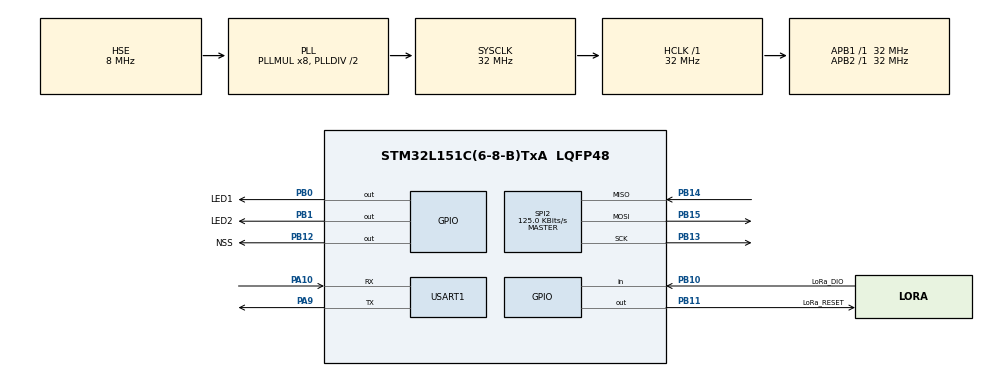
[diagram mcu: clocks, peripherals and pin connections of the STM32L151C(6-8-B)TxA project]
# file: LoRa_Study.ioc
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Mcu.Family=STM32L1
Mcu.Name=STM32L151C(6-8-B)TxA
Mcu.Package=LQFP48
NVIC.PriorityGroup=NVIC_PRIORITYGROUP_4
PA10.Mode=Asynchronous
PA10.Signal=USART1_RX
PA13.Mode=Serial_Wire
PA13.Signal=SYS_JTMS-SWDIO
PA14.Mode=Serial_Wire
PA14.Signal=SYS_JTCK-SWCLK
PA9.Mode=Asynchronous
PA9.Signal=USART1_TX
PB0.GPIO_Label=LED1
PB0.Signal=GPIO_Output
PB1.GPIO_Label=LED2
PB1.Signal=GPIO_Output
PB10.GPIO_Label=LoRa_DIO
PB10.Signal=GPIO_Input
PB11.GPIO_Label=LoRa_RESET
PB11.Signal=GPIO_Output
PB12.GPIO_Label=NSS
PB12.Signal=GPIO_Output
PB13.Mode=Full_Duplex_Master
PB13.Signal=SPI2_SCK
PB14.Mode=Full_Duplex_Master
PB14.Signal=SPI2_MISO
PB15.Mode=Full_Duplex_Master
PB15.Signal=SPI2_MOSI
PH0-OSC_IN.Mode=HSE-External-Oscillator
PH0-OSC_IN.Signal=RCC_OSC_IN
PH1-OSC_OUT.Mode=HSE-External-Oscillator
PH1-OSC_OUT.Signal=RCC_OSC_OUT
ProjectManager.HeapSize=0x200
ProjectManager.StackSize=0x400
ProjectManager.TargetToolchain=MDK-ARM V5
RCC.48MHZClocksFreq_Value=32000000
RCC.AHBFreq_Value=32000000
RCC.APB1Freq_Value=32000000
RCC.APB1TimFreq_Value=32000000
RCC.APB2Freq_Value=32000000
RCC.APB2TimFreq_Value=32000000
RCC.HCLKFreq_Value=32000000
RCC.HSE_VALUE=8000000
RCC.HSI_VALUE=16000000
RCC.LSE_VALUE=32768
RCC.MSI_VALUE=2097000
RCC.PLLMUL=RCC_PLL_MUL8
RCC.PLLSourceVirtual=RCC_PLLSOURCE_HSE
RCC.SYSCLKFreq_VALUE=32000000
RCC.SYSCLKSource=RCC_SYSCLKSOURCE_PLLCLK
RCC.VCOOutputFreq_Value=64000000
SPI2.BaudRatePrescaler=SPI_BAUDRATEPRESCALER_256
SPI2.CalculateBaudRate=125.0 KBits/s
SPI2.Direction=SPI_DIRECTION_2LINES
SPI2.Mode=SPI_MODE_MASTER
SPI2.VirtualType=VM_MASTER
USART1.VirtualMode=VM_ASYNC
board=LoRa_Study

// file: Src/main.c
/**
  ******************************************************************************
  * File Name          : main.c
  * Description        : Main program body
  ******************************************************************************
  ** This notice applies to any and all portions of this file
  * that are not between comment pairs USER CODE BEGIN and
  * USER CODE END. Other portions of this file, whether
  * inserted by the user or by software development tools
  * are owned by their respective copyright owners.
  *
  * COPYRIGHT(c) 2018 STMicroelectronics
  *
  * Redistribution and use in source and binary forms, with or without modification,
  * are permitted provided that the following conditions are met:
  *   1. Redistributions of source code must retain the above copyright notice,
  *      this list of conditions and the following disclaimer.
  *   2. Redistributions in binary form must reproduce the above copyright notice,
  *      this list of conditions and the following disclaimer in the documentation
  *      and/or other materials provided with the distribution.
  *   3. Neither the name of STMicroelectronics nor the names of its contributors
  *      may be used to endorse or promote products derived from this software
  *      without specific prior written permission.
  *
  * THIS SOFTWARE IS PROVIDED BY THE COPYRIGHT HOLDERS AND CONTRIBUTORS "AS IS"
  * AND ANY EXPRESS OR IMPLIED WARRANTIES, INCLUDING, BUT NOT LIMITED TO, THE
  * IMPLIED WARRANTIES OF MERCHANTABILITY AND FITNESS FOR A PARTICULAR PURPOSE ARE
  * DISCLAIMED. IN NO EVENT SHALL THE COPYRIGHT HOLDER OR CONTRIBUTORS BE LIABLE
  * FOR ANY DIRECT, INDIRECT, INCIDENTAL, SPECIAL, EXEMPLARY, OR CONSEQUENTIAL
  * DAMAGES (INCLUDING, BUT NOT LIMITED TO, PROCUREMENT OF SUBSTITUTE GOODS OR
  * SERVICES; LOSS OF USE, DATA, OR PROFITS; OR BUSINESS INTERRUPTION) HOWEVER
  * CAUSED AND ON ANY THEORY OF LIABILITY, WHETHER IN CONTRACT, STRICT LIABILITY,
  * OR TORT (INCLUDING NEGLIGENCE OR OTHERWISE) ARISING IN ANY WAY OUT OF THE USE
  * OF THIS SOFTWARE, EVEN IF ADVISED OF THE POSSIBILITY OF SUCH DAMAGE.
  *
  ******************************************************************************
  */

#include "main.h"
#include "stm32l1xx_hal.h"
#include "spi.h"
#include "usart.h"
#include "gpio.h"

/* USER CODE BEGIN Includes */
#include "SX1278.h"
/* USER CODE END Includes */

/* USER CODE BEGIN PV */
/* Private variables ---------------------------------------------------------*/
SX1278_HW_t SX1278_HW;
SX1278_t    SX1278;

int master;
int ret;
char buffer[64];
int message;
int message_length;
/* USER CODE END PV */

void SystemClock_Config(void);

/* USER CODE BEGIN PFP */
/* Private function prototypes -----------------------------------------------*/

/* USER CODE END PFP */

int main(void)
{

  /* MCU Configuration----------------------------------------------------------*/

  /* Reset of all peripherals, Initializes the Flash interface and the Systick. */
  HAL_Init();

  /* Configure the system clock */
  SystemClock_Config();

  /* Initialize all configured peripherals */
  MX_GPIO_Init();
  MX_SPI2_Init();
  MX_USART1_UART_Init();

  /* USER CODE BEGIN 2 */
	__HAL_SPI_ENABLE(&hspi2);
	SX1278_HW.DIO0.port = LoRa_DIO_GPIO_Port;
	SX1278_HW.DIO0.pin = LoRa_DIO_Pin;
	SX1278_HW.NSS.port = NSS_GPIO_Port;
	SX1278_HW.NSS.pin = NSS_Pin;
	SX1278_HW.RESET.port = LoRa_RESET_GPIO_Port;
	SX1278_HW.RESET.pin = LoRa_RESET_Pin;
	SX1278_HW.spi = &hspi2;

	SX1278.hw = &SX1278_HW;

	printf("Configuring LoRa module\r\n");
	SX1278_begin(&SX1278, SX1278_433MHZ, SX1278_POWER_17DBM, SX1278_LORA_SF_8,
			SX1278_LORA_BW_500KHZ, 20);
	printf("Done configuring LoRaModule\r\n");

	/*
	SX1278_LoRaEntryRx -> Receive
	*/
//	SX1278_LoRaEntryRx(&SX1278, 20, 2000);
	/*
	SX1278_LoRaEntryTx -> Transmit
	*/
	SX1278_LoRaEntryTx(&SX1278, 20, 2000);

	/* USER CODE END 2 */
  /* Infinite loop */
  while (1)
  {

  /* USER CODE BEGIN 3 */
//
			printf("Sending package...\r\n");
			message_length = sprintf(buffer, "www.makingfun.xyz -> [%d]", message);
			ret = SX1278_LoRaEntryTx(&SX1278, message_length, 1000);
			printf("Sending %s\r\n", buffer);
			ret = SX1278_LoRaTxPacket(&SX1278, (uint8_t *) buffer, message_length,
					2000);
			message += 1;

//			ret = SX1278_LoRaRxPacket(&SX1278);
//			if (ret > 0) {
//				SX1278_read(&SX1278, (uint8_t *) buffer, ret);
//				printf("Receiving package...\r\n");
//				printf("%s\r\n",buffer);
//				ret =0;
//			}
  }
  /* USER CODE END 3 */

}

/** System Clock Configuration
*/
void SystemClock_Config(void)
{

  RCC_OscInitTypeDef RCC_OscInitStruct;
  RCC_ClkInitTypeDef RCC_ClkInitStruct;

    /**Configure the main internal regulator output voltage
    */
  __HAL_PWR_VOLTAGESCALING_CONFIG(PWR_REGULATOR_VOLTAGE_SCALE1);

    /**Initializes the CPU, AHB and APB busses clocks
    */
  RCC_OscInitStruct.OscillatorType = RCC_OSCILLATORTYPE_HSE;
  RCC_OscInitStruct.HSEState = RCC_HSE_ON;
  RCC_OscInitStruct.PLL.PLLState = RCC_PLL_ON;
  RCC_OscInitStruct.PLL.PLLSource = RCC_PLLSOURCE_HSE;
  RCC_OscInitStruct.PLL.PLLMUL = RCC_PLL_MUL8;
  RCC_OscInitStruct.PLL.PLLDIV = RCC_PLL_DIV2;
  if (HAL_RCC_OscConfig(&RCC_OscInitStruct) != HAL_OK)
  {
    _Error_Handler(__FILE__, __LINE__);
  }

    /**Initializes the CPU, AHB and APB busses clocks
    */
  RCC_ClkInitStruct.ClockType = RCC_CLOCKTYPE_HCLK|RCC_CLOCKTYPE_SYSCLK
                              |RCC_CLOCKTYPE_PCLK1|RCC_CLOCKTYPE_PCLK2;
  RCC_ClkInitStruct.SYSCLKSource = RCC_SYSCLKSOURCE_PLLCLK;
  RCC_ClkInitStruct.AHBCLKDivider = RCC_SYSCLK_DIV1;
  RCC_ClkInitStruct.APB1CLKDivider = RCC_HCLK_DIV1;
  RCC_ClkInitStruct.APB2CLKDivider = RCC_HCLK_DIV1;

  if (HAL_RCC_ClockConfig(&RCC_ClkInitStruct, FLASH_LATENCY_1) != HAL_OK)
  {
    _Error_Handler(__FILE__, __LINE__);
  }

    /**Configure the Systick interrupt time
    */
  HAL_SYSTICK_Config(HAL_RCC_GetHCLKFreq()/1000);

    /**Configure the Systick
    */
  HAL_SYSTICK_CLKSourceConfig(SYSTICK_CLKSOURCE_HCLK);

  /* SysTick_IRQn interrupt configuration */
  HAL_NVIC_SetPriority(SysTick_IRQn, 0, 0);
}

void _Error_Handler(char * file, int line)
{
  while(1)
  {
  }
}

/************************ (C) COPYRIGHT STMicroelectronics *****END OF FILE****/
